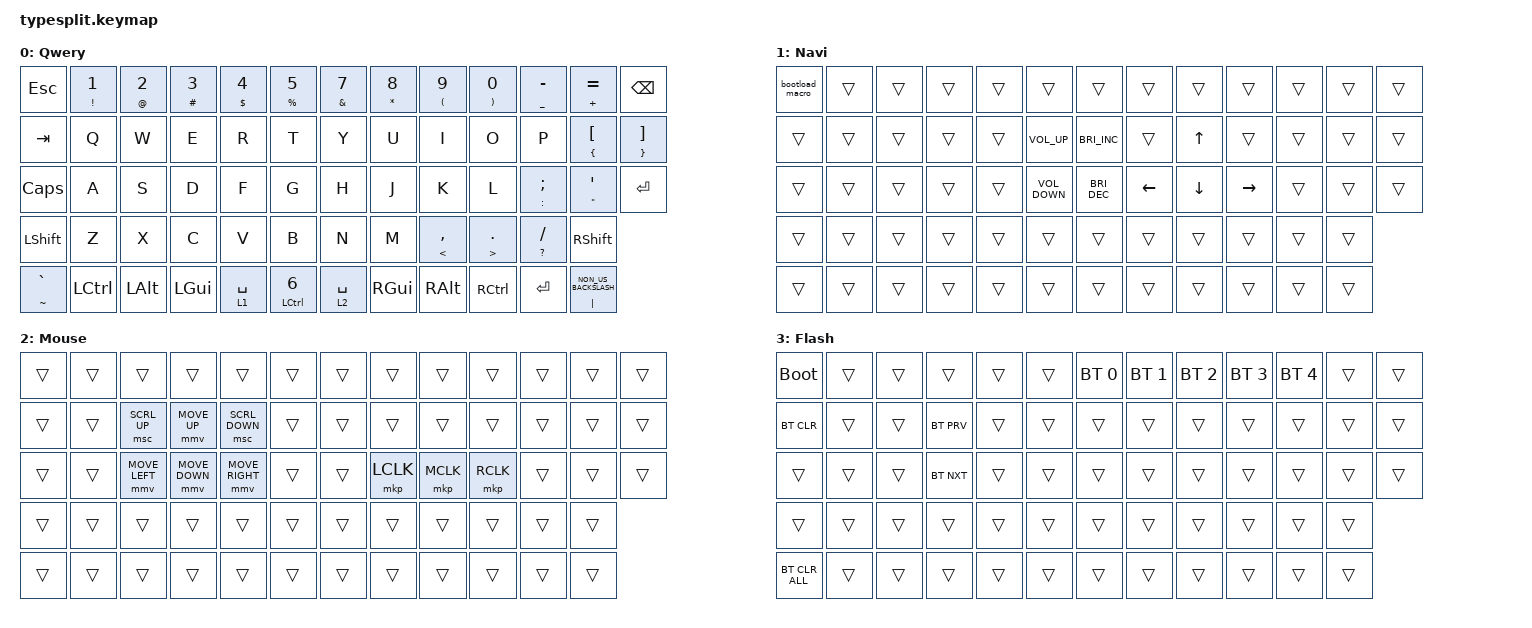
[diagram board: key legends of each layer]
#include <behaviors/mouse_keys.dtsi>
#include <behaviors.dtsi>
#include <dt-bindings/zmk/bt.h>
#include <dt-bindings/zmk/keys.h>
#include <dt-bindings/zmk/mouse.h>

&lt {
    tapping-term-ms = <240>;
    flavor = "balanced";
    quick-tap-ms = <150>;
};

&mt {
    global-quick-tap;
    flavor = "tap-preferred";
    tapping-term-ms = <200>;
};

&sk {
    release-after-ms = <2000>;
    quick-release;
};

/ {
    macros {
        bootload_macro: bootload_macro {
            compatible = "zmk,behavior-macro";
            #binding-cells = <0>;
            bindings = <&bootloader>;
            label = "BOOTLOAD_MACRO";
        };
    };

    combos {
        compatible = "zmk,combos";

        back_slash {
            bindings = <&kp BACKSLASH>;
            key-positions = <30 33>;
        };

        pipe {
            bindings = <&kp PIPE>;
            key-positions = <29 34>;
        };
    };

    behaviors {
        hm: homerow_mods {
            compatible = "zmk,behavior-hold-tap";
            label = "HOMEROW_MODS";
            bindings = <&kp>, <&kp>;

            #binding-cells = <2>;
            tapping-term-ms = <200>;
            quick-tap-ms = <180>;
            flavor = "tap-preferred";
        };

        ltq: ltq {
            compatible = "zmk,behavior-hold-tap";
            label = "LTQ";
            bindings = <&mo>, <&kp>;

            #binding-cells = <2>;
            tapping-term-ms = <200>;
            quick-tap-ms = <180>;
        };

        as: auto_shift {
            compatible = "zmk,behavior-hold-tap";
            label = "AUTO_SHIFT";
            bindings = <&kp>, <&kp>;

            #binding-cells = <2>;
            tapping-term-ms = <135>;
            quick-tap-ms = <0>;
        };
    };

    keymap {
        compatible = "zmk,keymap";

        Qwery {
            bindings = <
&kp ESC          &as EXCLAMATION N1  &as AT_SIGN N2  &as HASH N3   &as DOLLAR N4  &as PERCENT N5    &as AMPERSAND N7  &as ASTERISK N8  &as LEFT_PARENTHESIS N9  &as RIGHT_PARENTHESIS N0  &as UNDERSCORE MINUS  &as PLUS EQUAL                  &kp BSPC
&kp TAB          &kp Q               &kp W           &kp E         &kp R          &kp T             &kp Y             &kp U            &kp I                    &kp O                     &kp P                 &as LEFT_BRACE LEFT_BRACKET     &as RIGHT_BRACE RIGHT_BRACKET
&kp CAPS         &kp A               &kp S           &kp D         &kp F          &kp G             &kp H             &kp J            &kp K                    &kp L                     &as COLON SEMICOLON   &as DOUBLE_QUOTES SINGLE_QUOTE  &kp ENTER
&kp LSHFT        &kp Z               &kp X           &kp C         &kp V          &kp B             &kp N             &kp M            &as LESS_THAN COMMA      &as GREATER_THAN DOT      &as QUESTION SLASH    &kp RSHFT
&as TILDE GRAVE  &kp LCTRL           &kp LALT        &kp LEFT_GUI  &ltq 1 SPACE   &as LCTRL N6      &ltq 2 SPACE      &kp RGUI         &kp RALT                 &kp RCTRL                 &kp ENTER             &as PIPE NON_US_BACKSLASH
            >;

            label = "Qwery";
        };

        Navi {
            bindings = <
&bootload_macro  &trans  &trans  &trans  &trans  &trans               &trans                &trans          &trans          &trans           &trans  &trans  &trans
&trans           &trans  &trans  &trans  &trans  &kp C_VOLUME_UP      &kp C_BRIGHTNESS_INC  &trans          &kp UP_ARROW    &trans           &trans  &trans  &trans
&trans           &trans  &trans  &trans  &trans  &kp C_VOLUME_DOWN    &kp C_BRIGHTNESS_DEC  &kp LEFT_ARROW  &kp DOWN_ARROW  &kp RIGHT_ARROW  &trans  &trans  &trans
&trans           &trans  &trans  &trans  &trans  &trans               &trans                &trans          &trans          &trans           &trans  &trans
&trans           &trans  &trans  &trans  &trans  &trans               &trans                &trans          &trans          &trans           &trans  &trans
            >;

            label = "Navi";
        };

        Mouse {
            bindings = <
&trans  &trans  &trans          &trans          &trans           &trans    &trans  &trans     &trans     &trans     &trans  &trans  &trans
&trans  &trans  &msc SCRL_UP    &mmv MOVE_UP    &msc SCRL_DOWN   &trans    &trans  &trans     &trans     &trans     &trans  &trans  &trans
&trans  &trans  &mmv MOVE_LEFT  &mmv MOVE_DOWN  &mmv MOVE_RIGHT  &trans    &trans  &mkp LCLK  &mkp MCLK  &mkp RCLK  &trans  &trans  &trans
&trans  &trans  &trans          &trans          &trans           &trans    &trans  &trans     &trans     &trans     &trans  &trans
&trans  &trans  &trans          &trans          &trans           &trans    &trans  &trans     &trans     &trans     &trans  &trans
            >;

            label = "Mouse";
        };

        Flash {
            bindings = <
&bootloader     &trans  &trans  &trans      &trans  &trans    &bt BT_SEL 0  &bt BT_SEL 1  &bt BT_SEL 2  &bt BT_SEL 3  &bt BT_SEL 4  &trans  &trans
&bt BT_CLR      &trans  &trans  &bt BT_PRV  &trans  &trans    &trans        &trans        &trans        &trans        &trans        &trans  &trans
&trans          &trans  &trans  &bt BT_NXT  &trans  &trans    &trans        &trans        &trans        &trans        &trans        &trans  &trans
&trans          &trans  &trans  &trans      &trans  &trans    &trans        &trans        &trans        &trans        &trans        &trans
&bt BT_CLR_ALL  &trans  &trans  &trans      &trans  &trans    &trans        &trans        &trans        &trans        &trans        &trans
            >;

            label = "Flash";
        };
    };

    conditional_layers {
        compatible = "zmk,conditional-layers";

        Flash {
            if-layers = <1 2>;
            then-layer = <3>;
        };
    };
};
